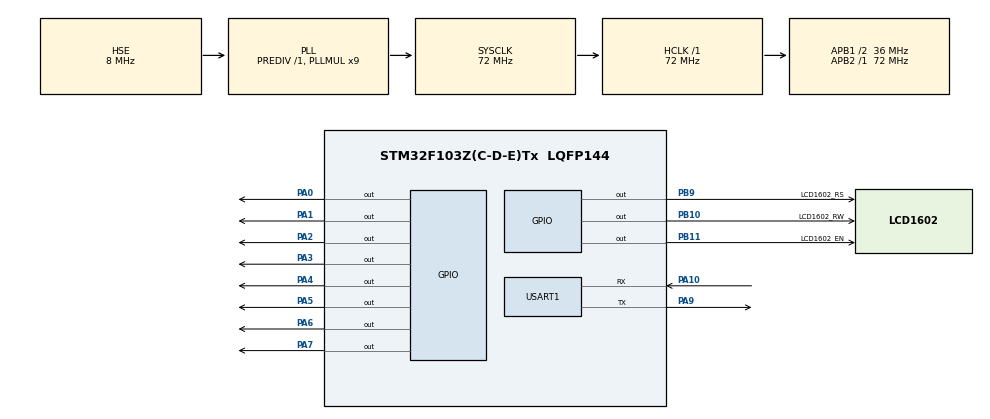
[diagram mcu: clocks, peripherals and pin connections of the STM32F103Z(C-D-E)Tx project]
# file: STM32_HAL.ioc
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Mcu.Family=STM32F1
Mcu.Name=STM32F103Z(C-D-E)Tx
Mcu.Package=LQFP144
NVIC.PriorityGroup=NVIC_PRIORITYGROUP_4
NVIC.USART1_IRQn=true\:0\:0\:false\:false\:true\:true\:true\:true
OSC_IN.Mode=HSE-External-Oscillator
OSC_IN.Signal=RCC_OSC_IN
OSC_OUT.Mode=HSE-External-Oscillator
OSC_OUT.Signal=RCC_OSC_OUT
PA0-WKUP.GPIO_Speed=GPIO_SPEED_FREQ_HIGH
PA0-WKUP.Signal=GPIO_Output
PA1.GPIO_Speed=GPIO_SPEED_FREQ_HIGH
PA1.Signal=GPIO_Output
PA10.Mode=Asynchronous
PA10.Signal=USART1_RX
PA13.Mode=Serial_Wire
PA13.Signal=SYS_JTMS-SWDIO
PA14.Mode=Serial_Wire
PA14.Signal=SYS_JTCK-SWCLK
PA2.GPIO_Speed=GPIO_SPEED_FREQ_HIGH
PA2.Signal=GPIO_Output
PA3.GPIO_Speed=GPIO_SPEED_FREQ_HIGH
PA3.Signal=GPIO_Output
PA4.GPIO_Speed=GPIO_SPEED_FREQ_HIGH
PA4.Signal=GPIO_Output
PA5.GPIO_Speed=GPIO_SPEED_FREQ_HIGH
PA5.Signal=GPIO_Output
PA6.GPIO_Speed=GPIO_SPEED_FREQ_HIGH
PA6.Signal=GPIO_Output
PA7.GPIO_ModeDefaultOutputPP=GPIO_MODE_OUTPUT_PP
PA7.GPIO_PuPd=GPIO_NOPULL
PA7.GPIO_Speed=GPIO_SPEED_FREQ_HIGH
PA7.Signal=GPIO_Output
PA9.Mode=Asynchronous
PA9.Signal=USART1_TX
PB10.GPIO_Label=LCD1602_RW
PB10.GPIO_Speed=GPIO_SPEED_FREQ_HIGH
PB10.Signal=GPIO_Output
PB11.GPIO_Label=LCD1602_EN
PB11.GPIO_Speed=GPIO_SPEED_FREQ_HIGH
PB11.Signal=GPIO_Output
PB9.GPIO_Label=LCD1602_RS
PB9.GPIO_Speed=GPIO_SPEED_FREQ_HIGH
PB9.Signal=GPIO_Output
ProjectManager.HeapSize=0x200
ProjectManager.StackSize=0x400
ProjectManager.TargetToolchain=CMake
RCC.AHBFreq_Value=72000000
RCC.APB1CLKDivider=RCC_HCLK_DIV2
RCC.APB1Freq_Value=36000000
RCC.APB1TimFreq_Value=72000000
RCC.APB2Freq_Value=72000000
RCC.APB2TimFreq_Value=72000000
RCC.HCLKFreq_Value=72000000
RCC.PLLMUL=RCC_PLL_MUL9
RCC.PLLSourceVirtual=RCC_PLLSOURCE_HSE
RCC.SYSCLKFreq_VALUE=72000000
RCC.SYSCLKSource=RCC_SYSCLKSOURCE_PLLCLK
RCC.USBFreq_Value=72000000
TIM6.Prescaler=72-1
USART1.VirtualMode=VM_ASYNC
VP_TIM6_VS_ClockSourceINT.Mode=Enable_Timer
board=custom

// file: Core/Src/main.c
/* USER CODE BEGIN Header */
/**
  ******************************************************************************
  * @file           : main.c
  * @brief          : Main program body
  ******************************************************************************
  * @attention
  *
  * Copyright (c) 2024 STMicroelectronics.
  * All rights reserved.
  *
  * This software is licensed under terms that can be found in the LICENSE file
  * in the root directory of this software component.
  * If no LICENSE file comes with this software, it is provided AS-IS.
  *
  ******************************************************************************
  */
/* USER CODE END Header */
#include "main.h"
#include "tim.h"
#include "usart.h"
#include "gpio.h"

/* USER CODE BEGIN Includes */

#include <stdio.h>
#include "lcd1602.h"

/* USER CODE END Includes */

/* USER CODE BEGIN PM */

// R: PB5, G: PB0, B: PB1
#define LED_R 0xFFFFFFDF
#define LED_G 0xFFFFFFFE
#define LED_B 0xFFFFFFFD

/* USER CODE END PM */

/* USER CODE BEGIN PV */
extern UART_HandleTypeDef huart1;
uint32_t ledColorArray[] = {LED_R, LED_G, LED_B};

/* USER CODE END PV */

void SystemClock_Config(void);

int main(void)
{

  /* MCU Configuration--------------------------------------------------------*/

  /* Reset of all peripherals, Initializes the Flash interface and the Systick. */
  HAL_Init();

  /* Configure the system clock */
  SystemClock_Config();

  /* Initialize all configured peripherals */
  MX_GPIO_Init();
  MX_USART1_UART_Init();
  MX_TIM6_Init();
  /* USER CODE BEGIN 2 */

  // start TIM6 for i2c delay
  HAL_TIM_Base_Start(&htim6);
  LCD_Init();
  LCD_ShowString("hello world");
  /* USER CODE END 2 */

  /* Infinite loop */
  /* USER CODE BEGIN WHILE */
  __HAL_RCC_GPIOB_CLK_ENABLE();

  while (1)
  {
    /* USER CODE END WHILE */

    /* USER CODE BEGIN 3 */

    HAL_Delay(500);
  }
  /* USER CODE END 3 */
}

void SystemClock_Config(void)
{
  RCC_OscInitTypeDef RCC_OscInitStruct = {0};
  RCC_ClkInitTypeDef RCC_ClkInitStruct = {0};

  /** Initializes the RCC Oscillators according to the specified parameters
  * in the RCC_OscInitTypeDef structure.
  */
  RCC_OscInitStruct.OscillatorType = RCC_OSCILLATORTYPE_HSE;
  RCC_OscInitStruct.HSEState = RCC_HSE_ON;
  RCC_OscInitStruct.HSEPredivValue = RCC_HSE_PREDIV_DIV1;
  RCC_OscInitStruct.HSIState = RCC_HSI_ON;
  RCC_OscInitStruct.PLL.PLLState = RCC_PLL_ON;
  RCC_OscInitStruct.PLL.PLLSource = RCC_PLLSOURCE_HSE;
  RCC_OscInitStruct.PLL.PLLMUL = RCC_PLL_MUL9;
  if (HAL_RCC_OscConfig(&RCC_OscInitStruct) != HAL_OK)
  {
    Error_Handler();
  }

  /** Initializes the CPU, AHB and APB buses clocks
  */
  RCC_ClkInitStruct.ClockType = RCC_CLOCKTYPE_HCLK|RCC_CLOCKTYPE_SYSCLK
                              |RCC_CLOCKTYPE_PCLK1|RCC_CLOCKTYPE_PCLK2;
  RCC_ClkInitStruct.SYSCLKSource = RCC_SYSCLKSOURCE_PLLCLK;
  RCC_ClkInitStruct.AHBCLKDivider = RCC_SYSCLK_DIV1;
  RCC_ClkInitStruct.APB1CLKDivider = RCC_HCLK_DIV2;
  RCC_ClkInitStruct.APB2CLKDivider = RCC_HCLK_DIV1;

  if (HAL_RCC_ClockConfig(&RCC_ClkInitStruct, FLASH_LATENCY_2) != HAL_OK)
  {
    Error_Handler();
  }
}

/* USER CODE BEGIN 4 */
int __io_putchar(int ch)
{
    HAL_UART_Transmit(&huart1, (uint8_t *)&ch, 1, HAL_MAX_DELAY);
    return 0;
}
/* USER CODE END 4 */

void Error_Handler(void)
{
  __disable_irq();
  while (1)
  {
  }
}
